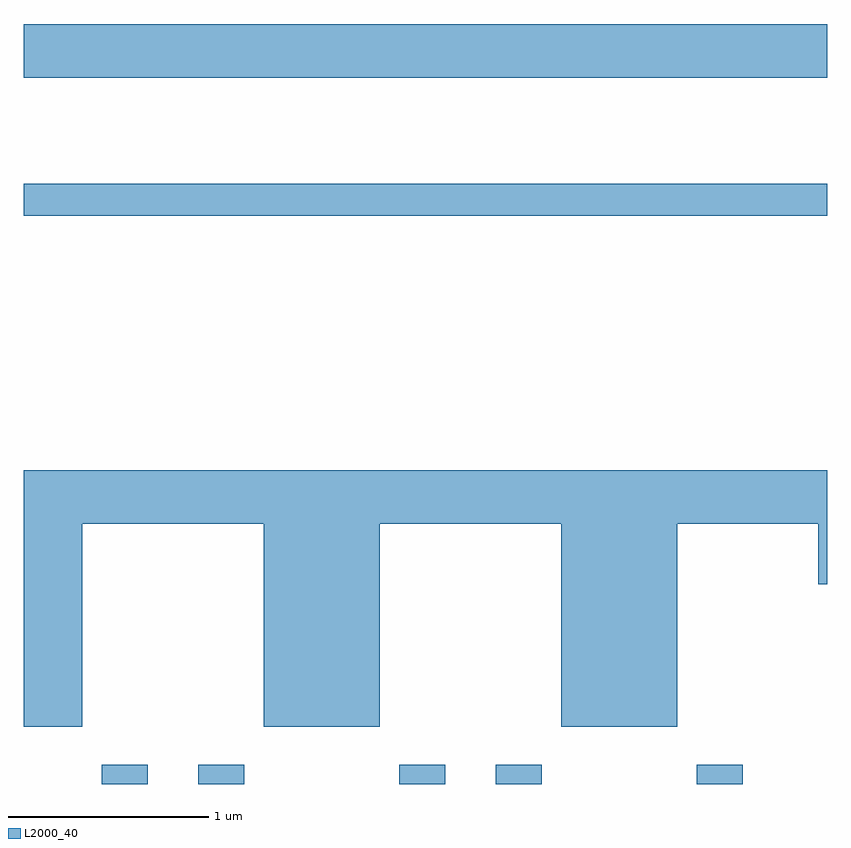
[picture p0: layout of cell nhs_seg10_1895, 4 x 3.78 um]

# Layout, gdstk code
import gdstk
lib = gdstk.Library(unit=1e-6, precision=1e-09)
def R(c, l, rs):  # rectangles x0, y0, x1, y1
    for r in rs: c.add(gdstk.rectangle(r[:2], r[2:], *l))
def P(c, l, *ps):  # polygons
    for p in ps: c.add(gdstk.Polygon(p, *l))
L2000_40 = (2000, 40)

nhs_seg10_1895 = lib.new_cell('nhs_seg10_1895')
R(nhs_seg10_1895, L2000_40, [(240.001,2212.522,240.229,2212.619), (240.481,2212.522,240.709,2212.619), (241.481,2212.522,241.709,2212.619), (241.961,2212.522,242.189,2212.619), (242.961,2212.522,243.189,2212.619), (239.611,2215.351,243.611,2215.509), (239.611,2216.036,243.611,2216.304)])
P(nhs_seg10_1895, L2000_40, [(239.904,2213.816),(240.806,2213.816),(240.806,2212.806),(241.384,2212.806),(241.384,2213.816),(242.286,2213.816),(242.286,2212.806),(242.864,2212.806),(242.864,2213.816),(243.566,2213.816),(243.566,2213.516),(243.611,2213.516),(243.611,2214.084),(239.611,2214.084),(239.611,2212.806),(239.904,2212.806)])

lib.write_gds('nhs_seg10_1895.gds')
